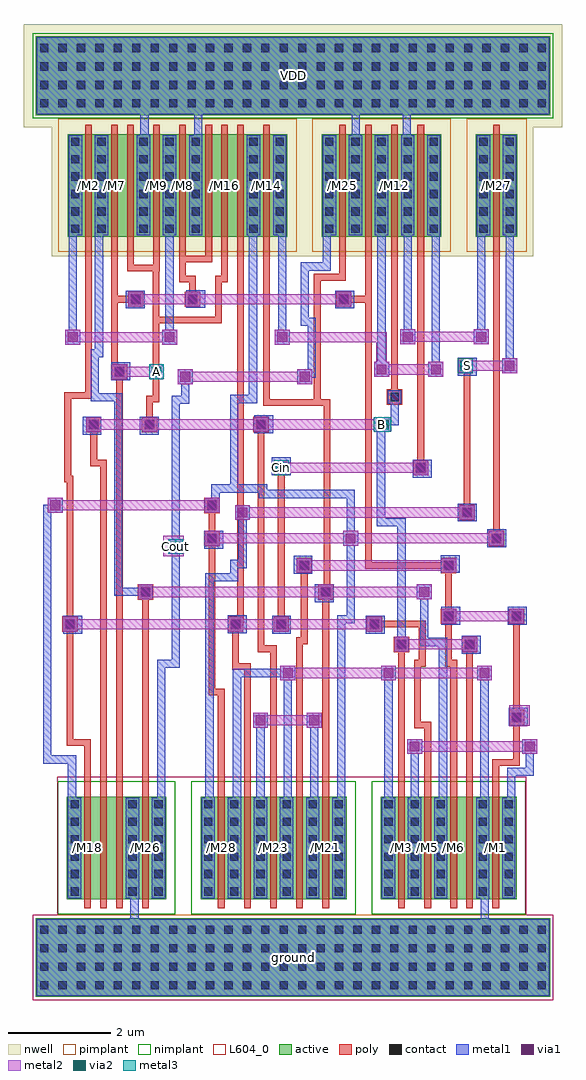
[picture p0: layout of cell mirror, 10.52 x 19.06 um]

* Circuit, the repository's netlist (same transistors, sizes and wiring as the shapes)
* LVS netlist generated with ICnet by 'egrvlsi07' on Mon Apr  1 2019 at 13:32:34

*
* Globals.
*
.global VDD ground

*
* Component pathname : $VLSI/Project/Adder
*
.subckt Adder  Cout S A B Cin

        M18 N$145 Cin N$165 ground nmos l=0.13u w=2u m=1
        M17 N$145 Cin N$159 VDD pmos l=0.13u w=2u m=1
        M16 N$159 B N$157 VDD pmos l=0.13u w=2u m=1
        M15 N$157 A VDD VDD pmos l=0.13u w=2u m=1
        M24 N$47 Cin ground ground nmos l=0.13u w=2u m=1
        M23 N$47 B ground ground nmos l=0.13u w=2u m=1
        M22 N$47 A ground ground nmos l=0.13u w=2u m=1
        M21 N$145 N$210 N$47 ground nmos l=0.13u w=2u m=1
        M14 N$145 N$210 N$37 VDD pmos l=0.13u w=2u m=1
        M13 N$37 Cin VDD VDD pmos l=0.13u w=2u m=1
        M12 N$37 B VDD VDD pmos l=0.13u w=2u m=1
        M11 N$37 A VDD VDD pmos l=0.13u w=2u m=1
        M10 N$7 B VDD VDD pmos l=0.13u w=2u m=1
        M9 N$10 B VDD VDD pmos l=0.13u w=2u m=1
        M8 N$10 A VDD VDD pmos l=0.13u w=2u m=1
        M7 N$210 A N$7 VDD pmos l=0.13u w=2u m=1
        M6 N$210 A N$19 ground nmos l=0.13u w=2u m=1
        M5 N$210 Cin N$14 ground nmos l=0.13u w=2u m=1
        M4 N$19 B ground ground nmos l=0.13u w=2u m=1
        M3 N$14 B ground ground nmos l=0.13u w=2u m=1
        M2 N$210 Cin N$10 VDD pmos l=0.13u w=2u m=1
        M1 N$14 A ground ground nmos l=0.13u w=2u m=1
        M28 S N$145 ground ground nmos l=0.13u w=2u m=1
        M27 S N$145 VDD VDD pmos l=0.13u w=2u m=1
        M26 Cout N$210 ground ground nmos l=0.13u w=2u m=1
        M25 Cout N$210 VDD VDD pmos l=0.13u w=2u m=1
        M20 N$167 A ground ground nmos l=0.13u w=2u m=1
        M19 N$165 B N$167 ground nmos l=0.13u w=2u m=1
.ends Adder

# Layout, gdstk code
import gdstk
lib = gdstk.Library(unit=1e-6, precision=1e-09)
def R(c, l, rs):  # rectangles x0, y0, x1, y1
    for r in rs: c.add(gdstk.rectangle(r[:2], r[2:], *l))
def A(c, l, x, y, w, h, nx, ny, dx, dy):  # array of equal rectangles
    R(c, l, [(x+i*dx, y+j*dy, x+i*dx+w, y+j*dy+h) for i in range(nx) for j in range(ny)])
def P(c, l, *ps):  # polygons
    for p in ps: c.add(gdstk.Polygon(p, *l))
nwell = (3, 0)
active = (6, 0)
poly = (17, 0)
pimplant = (25, 0)
nimplant = (26, 0)
contact = (30, 0)
metal1 = (31, 0)
metal2 = (32, 0)
metal3 = (33, 0)
via1 = (51, 0)
via2 = (52, 0)
L604_0 = (604, 0)

m2m3 = lib.new_cell('M2M3')
R(m2m3, metal2, [(-0.145,-0.145,0.145,0.145)])
R(m2m3, metal3, [(-0.145,-0.145,0.145,0.145)])
R(m2m3, via2, [(-0.095,-0.095,0.095,0.095)])

m1m2 = lib.new_cell('M1M2')
R(m1m2, metal1, [(-0.145,-0.145,0.145,0.145)])
R(m1m2, metal2, [(-0.145,-0.145,0.145,0.145)])
R(m1m2, via1, [(-0.095,-0.095,0.095,0.095)])

poly_m1 = lib.new_cell('POLY_M1')
R(poly_m1, poly, [(-0.15,-0.15,0.15,0.15)])
R(poly_m1, contact, [(-0.08,-0.08,0.08,0.08)])
R(poly_m1, metal1, [(-0.13,-0.13,0.13,0.13)])

mirror = lib.new_cell('mirror')
R(mirror, nwell, [(28.09,104.245,37.49,107.025), (27.54,106.765,38.06,108.785)])
R(mirror, active, [(27.78,89.785,37.82,91.325), (28.385,91.695,30.325,93.695), (30.995,91.695,33.845,93.695), (34.515,91.695,37.165,93.695), (28.4,104.635,32.69,106.635), (33.36,104.635,35.7,106.635), (36.37,104.635,37.18,106.635), (27.78,107.005,37.82,108.545)])
A(mirror, poly, 28.725, 91.515, 0.13, 0.18, 3, 2, 0.31, 2.18)
A(mirror, poly, 31.335, 91.515, 0.13, 0.18, 5, 2, 0.51, 2.18)
A(mirror, poly, 34.855, 91.515, 0.13, 0.18, 3, 2, 0.51, 2.18)
A(mirror, poly, 28.725, 91.695, 0.13, 2, 3, 1, 0.31, 0)
A(mirror, poly, 31.335, 91.695, 0.13, 2, 5, 1, 0.51, 0)
A(mirror, poly, 34.855, 91.695, 0.13, 2, 3, 1, 0.51, 0)
A(mirror, poly, 29.56, 104.455, 0.13, 0.18, 4, 2, 0.51, 2.18)
A(mirror, poly, 33.7, 104.455, 0.13, 0.18, 4, 2, 0.51, 2.18)
A(mirror, poly, 29.56, 104.635, 0.13, 2, 4, 1, 0.51, 0)
A(mirror, poly, 33.7, 104.635, 0.13, 2, 4, 1, 0.51, 0)
R(mirror, poly, [(29.855,91.515,29.985,91.695), (36.185,91.515,36.315,91.695), (36.695,91.515,36.825,91.695), (29.855,91.695,29.985,93.695), (36.185,91.695,36.315,93.695), (36.695,91.695,36.825,93.695), (29.855,93.695,29.985,93.875), (36.185,93.695,36.315,93.875), (36.695,93.695,36.825,93.875), (29.345,93.745,29.475,98.275), (29.855,93.745,29.985,97.76), (33.375,93.745,33.505,97.76), (34.855,93.745,34.985,96.735), (36.185,93.745,36.315,96.735), (32.505,97,32.635,100.185), (33.4,97.63,33.53,101.46), (29.345,98.145,29.475,100.64), (36.71,98.675,36.84,104.585), (35.23,100.055,35.36,104.585), (29.345,100.51,29.475,102.06), (33.21,101.33,33.53,101.46), (34.72,101.435,34.85,104.585), (30.06,102.94,30.19,104.085), (29.25,103.345,29.38,104.585), (29.25,103.345,29.795,103.475), (30.775,103.345,30.905,103.87), (33.725,103.345,34.34,103.475), (34.21,103.345,34.34,104.585), (30.58,104.13,30.71,104.585), (28.74,104.455,28.87,104.635), (29.25,104.455,29.38,104.635), (31.4,104.455,31.53,104.635), (31.71,104.455,31.84,104.635), (32.22,104.455,32.35,104.635), (36.71,104.455,36.84,104.635), (28.74,104.635,28.87,106.635), (29.25,104.635,29.38,106.635), (31.4,104.635,31.53,106.635), (31.71,104.635,31.84,106.635), (32.22,104.635,32.35,106.635), (36.71,104.635,36.84,106.635), (28.74,106.635,28.87,106.815), (29.25,106.635,29.38,106.815), (31.4,106.635,31.53,106.815), (31.71,106.635,31.84,106.815), (32.22,106.635,32.35,106.815), (36.71,106.635,36.84,106.815)])
P(mirror, poly, [(34.325,97),(35.26,97),(35.26,96.365),(35.165,96.365),(35.165,95.03),(35.365,95.03),(35.365,93.745),(35.495,93.745),(35.495,95.16),(35.295,95.16),(35.295,96.235),(35.39,96.235),(35.39,97.13),(34.325,97.13)],
  [(35.775,96.235),(35.875,96.235),(35.875,93.745),(36.005,93.745),(36.005,96.365),(35.905,96.365),(35.905,98.275),(35.775,98.275)],
  [(32.865,93.745),(32.995,93.745),(32.995,96.675),(33.085,96.675),(33.085,98.275),(32.955,98.275),(32.955,96.805),(32.865,96.805)],
  [(32.11,96.52),(32.355,96.52),(32.355,93.745),(32.485,93.745),(32.485,96.65),(32.24,96.65),(32.24,101.03),(32.11,101.03)],
  [(31.615,97.085),(31.84,97.085),(31.84,104.585),(31.71,104.585),(31.71,97.215),(31.615,97.215)],
  [(28.335,99.835),(28.38,99.835),(28.38,94.69),(28.725,94.69),(28.725,93.745),(28.855,93.745),(28.855,94.82),(28.51,94.82),(28.51,99.965),(28.465,99.965),(28.465,101.465),(28.87,101.465),(28.87,104.585),(28.74,104.585),(28.74,101.595),(28.335,101.595)],
  [(36.1,102.045),(36.135,102.045),(36.135,99.18),(36.265,99.18),(36.265,102.175),(36.1,102.175)],
  [(31.155,95.675),(31.335,95.675),(31.335,93.745),(31.465,93.745),(31.465,95.805),(31.285,95.805),(31.285,99.45),(31.155,99.45)],
  [(28.845,100.15),(29.035,100.15),(29.035,93.745),(29.165,93.745),(29.165,100.28),(28.975,100.28),(28.975,101.03),(28.845,101.03)],
  [(36.695,93.745),(36.825,93.745),(36.825,94.3),(37.23,94.3),(37.23,97.285),(37.1,97.285),(37.1,94.43),(36.695,94.43)],
  [(30.06,102.94),(31.41,102.94),(31.41,103.74),(31.53,103.74),(31.53,104.585),(31.4,104.585),(31.4,103.87),(31.28,103.87),(31.28,103.07),(30.06,103.07)],
  [(34.21,98.145),(35.905,98.145),(35.905,98.275),(34.34,98.275),(34.34,103.475),(34.21,103.475)],
  [(29.25,102.015),(29.475,102.015),(29.475,102.145),(29.38,102.145),(29.38,103.475),(29.25,103.475)],
  [(30.58,104.13),(31.22,104.13),(31.22,104.585),(31.09,104.585),(31.09,104.26),(30.58,104.26)],
  [(30.06,103.955),(30.2,103.955),(30.2,104.585),(30.07,104.585),(30.07,104.085),(30.06,104.085)],
  [(29.56,103.955),(30.19,103.955),(30.19,104.085),(29.69,104.085),(29.69,104.585),(29.56,104.585)],
  [(31.615,96.17),(31.845,96.17),(31.845,93.745),(31.975,93.745),(31.975,96.3),(31.745,96.3),(31.745,97.13),(31.615,97.13)],
  [(29.935,100.9),(30.065,100.9),(30.065,101.4),(30.19,101.4),(30.19,103.07),(30.06,103.07),(30.06,101.53),(29.935,101.53)],
  [(32.22,101.33),(33.34,101.33),(33.34,101.46),(32.35,101.46),(32.35,104.585),(32.22,104.585)],
  [(33.21,101.33),(33.34,101.33),(33.34,103.775),(33.83,103.775),(33.83,104.585),(33.7,104.585),(33.7,103.905),(33.21,103.905)],
  [(30.58,103.74),(30.905,103.74),(30.905,103.87),(30.71,103.87),(30.71,104.26),(30.58,104.26)])
R(mirror, pimplant, [(27.72,89.725,37.88,91.385), (28.22,104.335,32.87,106.935), (33.18,104.335,35.88,106.935), (36.19,104.335,37.36,106.935)])
R(mirror, nimplant, [(28.205,91.395,30.505,93.995), (30.815,91.395,34.025,93.995), (34.335,91.395,37.345,93.995), (27.72,106.945,37.88,108.605)])
A(mirror, contact, 27.86, 89.935, 0.16, 0.16, 28, 4, 0.36, 0.36)
A(mirror, contact, 28.455, 91.765, 0.16, 0.16, 1, 6, 0, 0.34)
A(mirror, contact, 29.585, 91.765, 0.16, 0.16, 1, 6, 0, 0.34)
A(mirror, contact, 30.095, 91.765, 0.16, 0.16, 1, 6, 0, 0.34)
A(mirror, contact, 31.065, 91.765, 0.16, 0.16, 6, 6, 0.51, 0.34)
A(mirror, contact, 34.585, 91.765, 0.16, 0.16, 3, 6, 0.51, 0.34)
A(mirror, contact, 36.425, 91.765, 0.16, 0.16, 1, 6, 0, 0.34)
A(mirror, contact, 36.935, 91.765, 0.16, 0.16, 1, 6, 0, 0.34)
A(mirror, contact, 28.47, 104.705, 0.16, 0.16, 1, 6, 0, 0.34)
A(mirror, contact, 28.98, 104.705, 0.16, 0.16, 1, 6, 0, 0.34)
A(mirror, contact, 29.8, 104.705, 0.16, 0.16, 3, 6, 0.51, 0.34)
A(mirror, contact, 31.95, 104.705, 0.16, 0.16, 1, 6, 0, 0.34)
A(mirror, contact, 32.46, 104.705, 0.16, 0.16, 1, 6, 0, 0.34)
A(mirror, contact, 33.43, 104.705, 0.16, 0.16, 5, 6, 0.51, 0.34)
A(mirror, contact, 36.44, 104.705, 0.16, 0.16, 1, 6, 0, 0.34)
A(mirror, contact, 36.95, 104.705, 0.16, 0.16, 1, 6, 0, 0.34)
A(mirror, contact, 27.86, 107.155, 0.16, 0.16, 28, 4, 0.36, 0.36)
A(mirror, metal1, 31.015, 91.715, 0.26, 1.96, 6, 1, 0.51, 0)
A(mirror, metal1, 34.535, 91.715, 0.26, 1.96, 3, 1, 0.51, 0)
A(mirror, metal1, 29.75, 104.655, 0.26, 1.96, 3, 1, 0.51, 0)
A(mirror, metal1, 33.38, 104.655, 0.26, 1.96, 5, 1, 0.51, 0)
R(mirror, metal1, [(27.8,89.805,37.8,91.305), (27.8,89.805,37.8,91.305), (29.625,91.145,29.785,91.875), (36.465,91.145,36.625,91.875), (28.405,91.715,28.665,93.675), (29.535,91.715,29.795,93.675), (30.045,91.715,30.305,93.675), (36.375,91.715,36.635,93.675), (36.885,91.715,37.145,93.675), (32.085,93.515,32.245,95.27), (33.135,93.515,33.295,95.27), (33.66,93.515,33.82,94.47), (34.585,93.515,34.745,96.19), (35.095,93.515,35.255,94.755), (36.46,93.515,36.62,96.19), (37.01,95.08,37.38,95.43), (36.1,96.485,36.47,96.835), (28.31,96.875,28.68,97.225), (32.39,96.875,32.76,97.225), (34.225,96.875,34.595,97.225), (31.53,96.885,31.9,97.235), (35.695,97.055,36.065,97.405), (36.99,97.055,37.36,97.405), (33.225,97.49,33.595,97.84), (32.81,98.05,33.18,98.4), (35.685,98.065,36.055,98.415), (31.065,98.54,31.435,98.89), (36.595,98.565,36.965,98.915), (36.02,99.07,36.39,99.42), (35.14,99.925,35.51,100.275), (32.385,99.975,32.755,100.325), (28.69,100.765,29.06,101.115), (29.81,100.765,30.18,101.115), (32.04,100.795,32.41,101.145), (34.44,100.885,34.65,101.045), (29.255,101.83,29.625,102.18), (36.015,101.92,36.385,102.27), (34.45,101.96,34.61,104.815), (35.51,101.96,35.67,104.815), (36.95,102.03,37.11,104.815), (28.42,102.59,28.58,104.815), (30.31,102.59,30.47,104.815), (32.51,102.59,32.67,104.815), (34.96,102.595,35.12,104.815), (36.395,102.595,36.555,104.815), (29.53,103.23,29.9,103.58), (33.625,103.23,33.995,103.58), (30.715,103.24,31.085,103.59), (28.42,104.655,28.68,106.615), (28.93,104.655,29.19,106.615), (31.9,104.655,32.16,106.615), (32.41,104.655,32.67,106.615), (36.39,104.655,36.65,106.615), (36.9,104.655,37.16,106.615), (29.82,106.455,29.98,107.185), (30.87,106.455,31.03,107.185), (33.945,106.455,34.105,107.185), (34.94,106.455,35.1,107.185), (27.8,107.025,37.8,108.525), (27.8,107.025,37.8,108.525)])
P(mirror, metal1, [(33.66,94.31),(33.82,94.31),(33.82,97.08),(34.005,97.08),(34.005,98.82),(33.845,98.82),(33.845,97.24),(33.66,97.24)],
  [(31.575,99.635),(32.135,99.635),(32.135,99.525),(33.845,99.525),(33.845,98.66),(34.005,98.66),(34.005,99.685),(32.295,99.685),(32.295,99.795),(31.575,99.795)],
  [(34.49,100.95),(34.865,100.95),(34.865,101.58),(34.705,101.58),(34.705,101.11),(34.49,101.11)],
  [(31.625,93.515),(31.785,93.515),(31.785,96.03),(32.62,96.03),(32.62,93.515),(32.78,93.515),(32.78,96.19),(31.625,96.19)],
  [(31.09,93.515),(31.25,93.515),(31.25,97.9),(31.735,97.9),(31.735,98.16),(31.895,98.16),(31.895,99.325),(31.735,99.325),(31.735,98.32),(31.575,98.32),(31.575,98.06),(31.09,98.06)],
  [(34.44,98.975),(34.84,98.975),(34.84,96.59),(35,96.59),(35,99.135),(34.6,99.135),(34.6,101.045),(34.44,101.045)],
  [(27.92,94.34),(28.405,94.34),(28.405,93.515),(28.565,93.515),(28.565,94.5),(28.08,94.5),(28.08,99.24),(28.235,99.24),(28.235,99.4),(27.92,99.4)],
  [(36.985,93.515),(37.145,93.515),(37.145,94.105),(37.505,94.105),(37.505,94.755),(37.345,94.755),(37.345,94.265),(36.985,94.265)],
  [(35.285,96.635),(35.65,96.635),(35.65,93.515),(35.81,93.515),(35.81,96.795),(35.445,96.795),(35.445,97.775),(35.285,97.775)],
  [(30.145,93.515),(30.305,93.515),(30.305,96.21),(30.59,96.21),(30.59,101.37),(30.775,101.37),(30.775,101.975),(30.615,101.975),(30.615,101.53),(30.43,101.53),(30.43,96.37),(30.145,96.37)],
  [(28.85,101.415),(29.305,101.415),(29.305,97.615),(30,97.615),(30,97.775),(29.465,97.775),(29.465,101.575),(29.01,101.575),(29.01,102.275),(29.09,102.275),(29.09,104.815),(28.93,104.815),(28.93,102.435),(28.85,102.435)],
  [(31.205,99.305),(31.365,99.305),(31.365,99.635),(31.735,99.635),(31.735,99.795),(31.205,99.795)],
  [(31.575,99.635),(31.735,99.635),(31.735,101.38),(32.1,101.38),(32.1,104.815),(31.94,104.815),(31.94,101.54),(31.575,101.54)],
  [(32.95,101.88),(33.245,101.88),(33.245,103.05),(33.11,103.05),(33.11,103.97),(33.54,103.97),(33.54,104.815),(33.38,104.815),(33.38,104.13),(32.95,104.13),(32.95,102.89),(33.085,102.89),(33.085,102.04),(32.95,102.04)])
R(mirror, metal2, [(35.075,94.575,37.525,94.775), (37.02,95.075,37.37,95.425), (37.02,95.085,37.42,95.485), (32.065,95.09,33.315,95.29), (32.6,96.01,36.64,96.21), (34.82,96.57,36.35,96.77), (28.345,96.965,34.49,97.165), (35.74,97.12,37.265,97.32), (29.82,97.595,33.54,97.795), (33.34,97.595,35.465,97.795), (32.92,98.11,35.94,98.31), (30.27,98.395,30.67,98.795), (30.315,98.4,30.665,98.75), (31.12,98.64,36.875,98.84), (31.715,99.145,36.3,99.345), (28.055,99.285,31.32,99.485), (32.47,100.02,35.395,100.22), (28.81,100.865,30.1,101.065), (29.9,100.865,34.62,101.065), (30.595,101.795,33.13,101.995), (29.31,101.895,30.235,102.095), (36.065,102.01,37.13,102.21), (28.4,102.57,30.49,102.77), (34.94,102.575,36.575,102.775), (29.63,103.31,30.94,103.51), (30.74,103.31,33.89,103.51)])
P(mirror, metal2, [(32.49,102.57),(34.43,102.57),(34.43,101.94),(35.69,101.94),(35.69,102.14),(34.63,102.14),(34.63,102.77),(32.49,102.77)])
R(mirror, metal3, [(30.41,98.48,30.61,98.68), (32.47,100.02,32.67,100.22), (34.42,100.865,34.62,101.065), (30.035,101.895,30.235,102.095), (36.1,102.01,36.3,102.21)])
R(mirror, L604_0, [(27.72,89.725,37.88,91.385), (28.195,91.305,37.355,94.085)])
mirror.add(gdstk.Reference(m2m3, (30.51,98.58)))
mirror.add(gdstk.Reference(m1m2, (28.155,99.385)))
mirror.add(gdstk.Reference(poly_m1, (31.22,99.385)))
mirror.add(gdstk.Reference(m1m2, (31.22,99.385)))
mirror.add(gdstk.Reference(poly_m1, (29.41,101.995)))
mirror.add(gdstk.Reference(poly_m1, (28.445,97.065)))
mirror.add(gdstk.Reference(m1m2, (28.445,97.065)))
mirror.add(gdstk.Reference(poly_m1, (28.91,100.965)))
mirror.add(gdstk.Reference(m1m2, (28.91,100.965)))
mirror.add(gdstk.Reference(m1m2, (36.475,102.675)))
mirror.add(gdstk.Reference(m1m2, (35.04,102.675)))
mirror.add(gdstk.Reference(m1m2, (35.59,102.04)))
mirror.add(gdstk.Reference(m1m2, (34.53,102.04)))
mirror.add(gdstk.Reference(poly_m1, (35.295,100.12)))
mirror.add(gdstk.Reference(m1m2, (35.295,100.12)))
mirror.add(gdstk.Reference(m1m2, (31.68,97.065)))
mirror.add(gdstk.Reference(poly_m1, (29.92,97.695)))
mirror.add(gdstk.Reference(m1m2, (29.92,97.695)))
mirror.add(gdstk.Reference(m1m2, (29.41,101.995)))
mirror.add(gdstk.Reference(m2m3, (30.135,101.995)))
mirror.add(gdstk.Reference(poly_m1, (31.22,98.74)))
mirror.add(gdstk.Reference(m1m2, (31.22,98.74)))
mirror.add(gdstk.Reference(poly_m1, (36.165,102.11)))
mirror.add(gdstk.Reference(m1m2, (36.165,102.11)))
mirror.add(gdstk.Reference(m2m3, (36.165,102.11)))
mirror.add(gdstk.Reference(m1m2, (31.815,99.245)))
mirror.add(gdstk.Reference(poly_m1, (36.2,99.245)))
mirror.add(gdstk.Reference(m1m2, (36.2,99.245)))
mirror.add(gdstk.Reference(m1m2, (37.03,102.11)))
mirror.add(gdstk.Reference(m1m2, (30.51,98.58)))
mirror.add(gdstk.Reference(m1m2, (33.925,98.74)))
mirror.add(gdstk.Reference(poly_m1, (36.775,98.74)))
mirror.add(gdstk.Reference(m1m2, (33.215,95.19)))
mirror.add(gdstk.Reference(m1m2, (32.165,95.19)))
mirror.add(gdstk.Reference(poly_m1, (33.02,98.21)))
mirror.add(gdstk.Reference(m1m2, (33.02,98.21)))
mirror.add(gdstk.Reference(poly_m1, (35.84,98.21)))
mirror.add(gdstk.Reference(m1m2, (35.84,98.21)))
mirror.add(gdstk.Reference(m1m2, (32.7,96.11)))
mirror.add(gdstk.Reference(poly_m1, (32.175,100.965)))
mirror.add(gdstk.Reference(m1m2, (32.175,100.965)))
mirror.add(gdstk.Reference(m2m3, (34.52,100.965)))
mirror.add(gdstk.Reference(m1m2, (34.57,100.965)))
mirror.add(gdstk.Reference(m2m3, (34.57,100.965)))
mirror.add(gdstk.Reference(poly_m1, (31.68,97.065)))
mirror.add(gdstk.Reference(poly_m1, (35.84,97.22)))
mirror.add(gdstk.Reference(m1m2, (35.84,97.22)))
mirror.add(gdstk.Reference(poly_m1, (37.165,97.22)))
mirror.add(gdstk.Reference(m1m2, (37.165,97.22)))
mirror.add(gdstk.Reference(poly_m1, (34.39,97.065)))
mirror.add(gdstk.Reference(m1m2, (34.39,97.065)))
mirror.add(gdstk.Reference(poly_m1, (32.57,97.065)))
mirror.add(gdstk.Reference(m1m2, (32.57,97.065)))
mirror.add(gdstk.Reference(poly_m1, (32.57,100.12)))
mirror.add(gdstk.Reference(m1m2, (32.57,100.12)))
mirror.add(gdstk.Reference(m2m3, (32.57,100.12)))
mirror.add(gdstk.Reference(m1m2, (35.365,97.695)))
mirror.add(gdstk.Reference(poly_m1, (33.44,97.695)))
mirror.add(gdstk.Reference(m1m2, (33.44,97.695)))
mirror.add(gdstk.Reference(m1m2, (36.775,98.74)))
mirror.add(gdstk.Reference(m1m2, (37.425,94.675)))
mirror.add(gdstk.Reference(m1m2, (35.175,94.675)))
mirror.add(gdstk.Reference(poly_m1, (37.165,95.24)))
mirror.add(gdstk.Reference(m1m2, (37.165,95.24)))
mirror.add(gdstk.Reference(m1m2, (36.54,96.11)))
mirror.add(gdstk.Reference(m1m2, (34.665,96.11)))
mirror.add(gdstk.Reference(poly_m1, (34.92,96.67)))
mirror.add(gdstk.Reference(m1m2, (34.92,96.67)))
mirror.add(gdstk.Reference(poly_m1, (36.25,96.67)))
mirror.add(gdstk.Reference(m1m2, (36.25,96.67)))
mirror.add(gdstk.Reference(m1m2, (33.03,101.895)))
mirror.add(gdstk.Reference(m1m2, (30.695,101.895)))
mirror.add(gdstk.Reference(m1m2, (28.5,102.67)))
mirror.add(gdstk.Reference(m1m2, (30.39,102.67)))
mirror.add(gdstk.Reference(m1m2, (32.59,102.67)))
mirror.add(gdstk.Reference(poly_m1, (34.785,101.5)))
mirror.add(gdstk.Reference(poly_m1, (29.73,103.41)))
mirror.add(gdstk.Reference(m1m2, (29.73,103.41)))
mirror.add(gdstk.Reference(poly_m1, (30.84,103.41)))
mirror.add(gdstk.Reference(m1m2, (30.84,103.41)))
mirror.add(gdstk.Reference(poly_m1, (30,100.965)))
mirror.add(gdstk.Reference(m1m2, (30,100.965)))
mirror.add(gdstk.Reference(poly_m1, (33.79,103.41)))
mirror.add(gdstk.Reference(m1m2, (33.79,103.41)))
mirror.add(gdstk.Label('/M18', (28.79,92.695), layer=17, texttype=0))
mirror.add(gdstk.Label('/M19', (29.1,92.695), layer=17, texttype=0))
mirror.add(gdstk.Label('/M20', (29.41,92.695), layer=17, texttype=0))
mirror.add(gdstk.Label('/M26', (29.92,92.695), layer=17, texttype=0))
mirror.add(gdstk.Label('/M28', (31.4,92.695), layer=17, texttype=0))
mirror.add(gdstk.Label('/M24', (31.91,92.695), layer=17, texttype=0))
mirror.add(gdstk.Label('/M23', (32.42,92.695), layer=17, texttype=0))
mirror.add(gdstk.Label('/M22', (32.93,92.695), layer=17, texttype=0))
mirror.add(gdstk.Label('/M21', (33.44,92.695), layer=17, texttype=0))
mirror.add(gdstk.Label('/M3', (34.92,92.695), layer=17, texttype=0))
mirror.add(gdstk.Label('/M5', (35.43,92.695), layer=17, texttype=0))
mirror.add(gdstk.Label('/M6', (35.94,92.695), layer=17, texttype=0))
mirror.add(gdstk.Label('/M4', (36.25,92.695), layer=17, texttype=0))
mirror.add(gdstk.Label('/M1', (36.76,92.695), layer=17, texttype=0))
mirror.add(gdstk.Label('/M2', (28.805,105.635), layer=17, texttype=0))
mirror.add(gdstk.Label('/M7', (29.315,105.635), layer=17, texttype=0))
mirror.add(gdstk.Label('/M10', (29.625,105.635), layer=17, texttype=0))
mirror.add(gdstk.Label('/M9', (30.135,105.635), layer=17, texttype=0))
mirror.add(gdstk.Label('/M8', (30.645,105.635), layer=17, texttype=0))
mirror.add(gdstk.Label('/M15', (31.155,105.635), layer=17, texttype=0))
mirror.add(gdstk.Label('/M16', (31.465,105.635), layer=17, texttype=0))
mirror.add(gdstk.Label('/M17', (31.775,105.635), layer=17, texttype=0))
mirror.add(gdstk.Label('/M14', (32.285,105.635), layer=17, texttype=0))
mirror.add(gdstk.Label('/M25', (33.765,105.635), layer=17, texttype=0))
mirror.add(gdstk.Label('/M11', (34.275,105.635), layer=17, texttype=0))
mirror.add(gdstk.Label('/M12', (34.785,105.635), layer=17, texttype=0))
mirror.add(gdstk.Label('/M13', (35.295,105.635), layer=17, texttype=0))
mirror.add(gdstk.Label('/M27', (36.775,105.635), layer=17, texttype=0))
mirror.add(gdstk.Label('A', (30.135,101.995), layer=133, texttype=0))
mirror.add(gdstk.Label('B', (34.52,100.965), layer=133, texttype=0))
mirror.add(gdstk.Label('Cin', (32.57,100.12), layer=133, texttype=0))
mirror.add(gdstk.Label('S', (36.2,102.11), layer=133, texttype=0))
mirror.add(gdstk.Label('Cout', (30.51,98.58), layer=133, texttype=0))
mirror.add(gdstk.Label('VDD', (32.8,107.775), layer=131, texttype=0))
mirror.add(gdstk.Label('ground', (32.8,90.555), layer=131, texttype=0))

lib.write_gds('mirror.gds')
